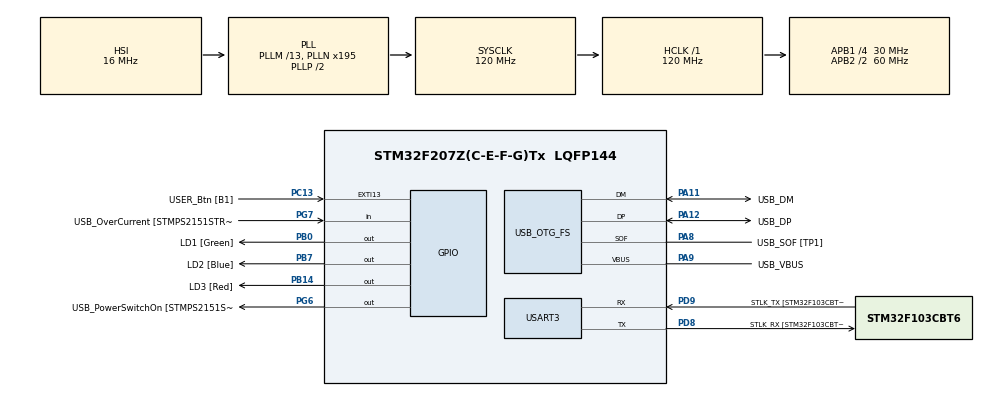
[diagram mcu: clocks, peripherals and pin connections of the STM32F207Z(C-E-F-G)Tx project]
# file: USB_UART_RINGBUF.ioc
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Mcu.Family=STM32F2
Mcu.Name=STM32F207Z(C-E-F-G)Tx
Mcu.Package=LQFP144
NVIC.EXTI15_10_IRQn=true\:0\:0\:false\:false\:true\:true\:true
NVIC.OTG_FS_IRQn=true\:0\:0\:false\:false\:true\:true\:true
NVIC.PriorityGroup=NVIC_PRIORITYGROUP_4
NVIC.USART3_IRQn=true\:0\:0\:false\:false\:true\:true\:true
PA1.GPIO_Label=RMII_REF_CLK [LAN8742A-CZ-TR_REFCLK0]
PA1.Signal=ETH_REF_CLK
PA10.GPIO_Label=USB_ID
PA10.Signal=USB_OTG_FS_ID
PA11.GPIO_Label=USB_DM
PA11.Mode=Device_Only
PA11.Signal=USB_OTG_FS_DM
PA12.GPIO_Label=USB_DP
PA12.Mode=Device_Only
PA12.Signal=USB_OTG_FS_DP
PA13.GPIO_Label=TMS
PA13.Mode=Serial_Wire
PA13.Signal=SYS_JTMS-SWDIO
PA14.GPIO_Label=TCK
PA14.Mode=Serial_Wire
PA14.Signal=SYS_JTCK-SWCLK
PA2.GPIO_Label=RMII_MDIO [LAN8742A-CZ-TR_MDIO]
PA2.Signal=ETH_MDIO
PA7.GPIO_Label=RMII_CRS_DV [LAN8742A-CZ-TR_CRS_DV]
PA7.Signal=ETH_CRS_DV
PA8.GPIO_Label=USB_SOF [TP1]
PA8.Mode=Activate_SOF_FS
PA8.Signal=USB_OTG_FS_SOF
PA9.GPIO_Label=USB_VBUS
PA9.Mode=Activate_VBUS
PA9.Signal=USB_OTG_FS_VBUS
PB0.GPIO_Label=LD1 [Green]
PB0.Signal=GPIO_Output
PB13.GPIO_Label=RMII_TXD1 [LAN8742A-CZ-TR_TXD1]
PB13.Signal=ETH_TXD1
PB14.GPIO_Label=LD3 [Red]
PB14.Signal=GPIO_Output
PB3.GPIO_Label=SWO
PB3.Signal=SYS_JTDO-SWO
PB7.GPIO_Label=LD2 [Blue]
PB7.Signal=GPIO_Output
PC1.GPIO_Label=RMII_MDC [LAN8742A-CZ-TR_MDC]
PC1.Signal=ETH_MDC
PC13.GPIO_Label=USER_Btn [B1]
PC13.Signal=GPXTI13
PC14-OSC32_IN.Mode=LSE-External-Oscillator
PC14-OSC32_IN.Signal=RCC_OSC32_IN
PC15-OSC32_OUT.Mode=LSE-External-Oscillator
PC15-OSC32_OUT.Signal=RCC_OSC32_OUT
PC4.GPIO_Label=RMII_RXD0 [LAN8742A-CZ-TR_RXD0]
PC4.Signal=ETH_RXD0
PC5.GPIO_Label=RMII_RXD1 [LAN8742A-CZ-TR_RXD1]
PC5.Signal=ETH_RXD1
PD8.GPIO_Label=STLK_RX [STM32F103CBT6_PA3]
PD8.Mode=Asynchronous
PD8.Signal=USART3_TX
PD9.GPIO_Label=STLK_TX [STM32F103CBT6_PA2]
PD9.Mode=Asynchronous
PD9.Signal=USART3_RX
PG11.GPIO_Label=RMII_TX_EN [LAN8742A-CZ-TR_TXEN]
PG11.Signal=ETH_TX_EN
PG13.GPIO_Label=RMII_TXD0 [LAN8742A-CZ-TR_TXD0]
PG13.Signal=ETH_TXD0
PG6.GPIO_Label=USB_PowerSwitchOn [STMPS2151STR_EN]
PG6.Signal=GPIO_Output
PG7.GPIO_Label=USB_OverCurrent [STMPS2151STR_FAULT]
PG7.Signal=GPIO_Input
PH0-OSC_IN.GPIO_Label=MCO [STM32F103CBT6_PA8]
PH0-OSC_IN.Mode=HSE-External-Clock-Source
PH0-OSC_IN.Signal=RCC_OSC_IN
PH1-OSC_OUT.Mode=HSE-External-Clock-Source
PH1-OSC_OUT.Signal=RCC_OSC_OUT
ProjectManager.HeapSize=0x200
ProjectManager.StackSize=0x400
ProjectManager.TargetToolchain=STM32CubeIDE
RCC.48MHZClocksFreq_Value=48000000
RCC.AHBFreq_Value=120000000
RCC.APB1CLKDivider=RCC_HCLK_DIV4
RCC.APB1Freq_Value=30000000
RCC.APB1TimFreq_Value=60000000
RCC.APB2CLKDivider=RCC_HCLK_DIV2
RCC.APB2Freq_Value=60000000
RCC.APB2TimFreq_Value=120000000
RCC.CortexFreq_Value=120000000
RCC.HCLKFreq_Value=120000000
RCC.HSE_VALUE=8000000
RCC.HSI_VALUE=16000000
RCC.PLLM=13
RCC.PLLMUL=RCC_PLL_MUL9
RCC.PLLN=195
RCC.PLLQ=5
RCC.PRESCALERUSB=RCC_USBCLKSOURCE_PLL_DIV1_5
RCC.SYSCLKFreq_VALUE=120000000
RCC.SYSCLKSource=RCC_SYSCLKSOURCE_PLLCLK
RCC.SYSCLKSourceVirtual=RCC_SYSCLKSOURCE_PLLCLK
RCC.USBFreq_Value=48000000
RCC.VCOOutputFreq_Value=240000000
USART3.VirtualMode=VM_ASYNC
USB_DEVICE.CLASS_NAME_FS=CDC
USB_DEVICE.MANUFACTURER_STRING-CDC_FS=Stryx.Inc
USB_DEVICE.PRODUCT_STRING_CDC_FS=USB_UART_RINGBUF
USB_DEVICE.VirtualMode-CDC_FS=Cdc
USB_DEVICE.VirtualModeFS=Cdc_FS
USB_OTG_FS.VirtualMode=Device_Only
VP_USB_DEVICE_VS_USB_DEVICE_CDC_FS.Mode=CDC_FS
board=NUCLEO-F207ZG

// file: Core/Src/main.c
/* USER CODE BEGIN Header */
/**
 ******************************************************************************
 * @file           : main.c
 * @brief          : Main program body
 ******************************************************************************
 * @attention
 *
 * <h2><center>&copy; Copyright (c) 2021 STMicroelectronics.
 * All rights reserved.</center></h2>
 *
 * This software component is licensed by ST under BSD 3-Clause license,
 * the "License"; You may not use this file except in compliance with the
 * License. You may obtain a copy of the License at:
 *                        opensource.org/licenses/BSD-3-Clause
 *
 ******************************************************************************
 */
/* USER CODE END Header */
#include "main.h"
#include "usart.h"
#include "usb_device.h"
#include "gpio.h"

/* USER CODE BEGIN PV */
#define MAX_BUFLEN 1024
char buf[MAX_BUFLEN];
int bufHead = 0, bufTail = 0;
uint8_t tmpbuf;

uint8_t received = '\0';
HAL_StatusTypeDef rcvStat;
/* USER CODE END PV */

void SystemClock_Config(void);

/* USER CODE BEGIN 0 */

void HAL_UART_RxCpltCallback(UART_HandleTypeDef *huart)
{
	if (huart->Instance == huart3.Instance)
	{
		HAL_UART_Receive_IT(&huart3, &tmpbuf, 1);
		buf[bufTail] = huart->pRxBuffPtr[0];
		bufTail++;
		bufTail %= 200;
	}
}

int __io_putchar(int ch)
{
	uint8_t *tr = (uint8_t*) &ch;
	HAL_UART_Transmit(&huart3, &tr[0], 1, -1);
	return ch;
}
int __io_getchar()
{
	register int ret;

	__retry: if (bufHead != bufTail)
	{
		ret = buf[bufHead];
		if (ret == '\r')
		{
			ret = '\n';
		}
		bufHead++;
		bufHead %= MAX_BUFLEN;
	}
	else
	{
		goto __retry;
	}
	return ret;
}
/* USER CODE END 0 */

int main(void)
{

	/* MCU Configuration--------------------------------------------------------*/

	/* Reset of all peripherals, Initializes the Flash interface and the Systick. */
	HAL_Init();

	/* Configure the system clock */
	SystemClock_Config();

	/* Initialize all configured peripherals */
	MX_GPIO_Init();
	MX_USART3_UART_Init();
	MX_USB_DEVICE_Init();
	/* USER CODE BEGIN 2 */

	HAL_UART_Receive_IT(&huart3, &tmpbuf, 1);
	puts("Hello World!\r\n");

	//char mainBuf[300];
	/* USER CODE END 2 */

	/* Infinite loop */
	/* USER CODE BEGIN WHILE */
	while (1)
	{
		/*
		 rcvStat = HAL_UART_Receive(&huart1, &received, 1, 10);
		 if (rcvStat == HAL_OK)
		 {
		 HAL_UART_Transmit(&huart1, &received, 1, 1000); //읽어드린 값 터미널로 출력
		 }
		 */
		uint8_t data_rx = usb_check_buffer();
		if (data_rx)
		{
			uint8_t *FUCKU = usb_get_byte();
			CDC_Transmit_FS(&FUCKU, strlen(&FUCKU));
			HAL_UART_Transmit(&huart3, &FUCKU, 1, 1000);
			HAL_GPIO_WritePin(LD1_GPIO_Port, LD1_Pin, GPIO_PIN_SET);
		}
		//puts(mainBuf);
		//HAL_Delay(1000);
		/* USER CODE END WHILE */

	}
}

void SystemClock_Config(void)
{
	RCC_OscInitTypeDef RCC_OscInitStruct =
	{ 0 };
	RCC_ClkInitTypeDef RCC_ClkInitStruct =
	{ 0 };

	/** Initializes the RCC Oscillators according to the specified parameters
	 * in the RCC_OscInitTypeDef structure.
	 */
	RCC_OscInitStruct.OscillatorType = RCC_OSCILLATORTYPE_HSI;
	RCC_OscInitStruct.HSIState = RCC_HSI_ON;
	RCC_OscInitStruct.HSICalibrationValue = RCC_HSICALIBRATION_DEFAULT;
	RCC_OscInitStruct.PLL.PLLState = RCC_PLL_ON;
	RCC_OscInitStruct.PLL.PLLSource = RCC_PLLSOURCE_HSI;
	RCC_OscInitStruct.PLL.PLLM = 13;
	RCC_OscInitStruct.PLL.PLLN = 195;
	RCC_OscInitStruct.PLL.PLLP = RCC_PLLP_DIV2;
	RCC_OscInitStruct.PLL.PLLQ = 5;
	if (HAL_RCC_OscConfig(&RCC_OscInitStruct) != HAL_OK)
	{
		Error_Handler();
	}
	/** Initializes the CPU, AHB and APB buses clocks
	 */
	RCC_ClkInitStruct.ClockType = RCC_CLOCKTYPE_HCLK | RCC_CLOCKTYPE_SYSCLK
			| RCC_CLOCKTYPE_PCLK1 | RCC_CLOCKTYPE_PCLK2;
	RCC_ClkInitStruct.SYSCLKSource = RCC_SYSCLKSOURCE_PLLCLK;
	RCC_ClkInitStruct.AHBCLKDivider = RCC_SYSCLK_DIV1;
	RCC_ClkInitStruct.APB1CLKDivider = RCC_HCLK_DIV4;
	RCC_ClkInitStruct.APB2CLKDivider = RCC_HCLK_DIV2;

	if (HAL_RCC_ClockConfig(&RCC_ClkInitStruct, FLASH_LATENCY_3) != HAL_OK)
	{
		Error_Handler();
	}
}

void Error_Handler(void)
{
	__disable_irq();
	while (1)
	{
	}
}

/************************ (C) COPYRIGHT STMicroelectronics *****END OF FILE****/
